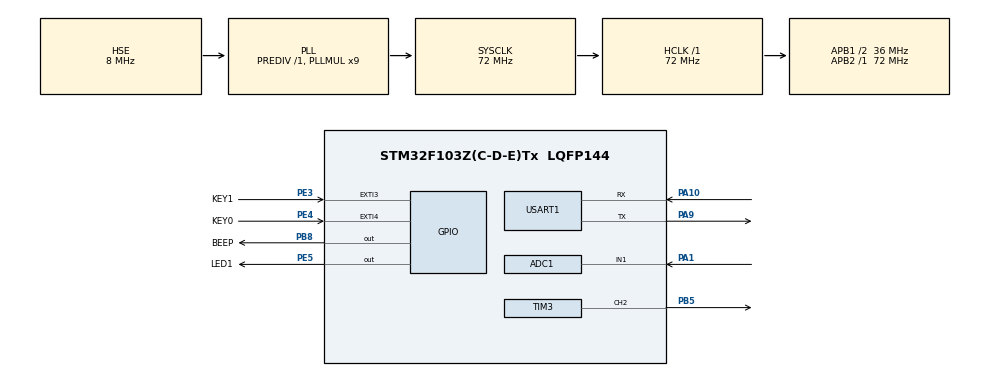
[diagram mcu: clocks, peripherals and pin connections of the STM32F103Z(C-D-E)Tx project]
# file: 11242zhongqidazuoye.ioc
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ADC1.Channel-0\#ChannelRegularConversion=ADC_CHANNEL_1
ADC1.Channel-1\#ChannelRegularConversion=ADC_CHANNEL_TEMPSENSOR
ADC1.ContinuousConvMode=ENABLE
ADC1.NbrOfConversion=2
ADC1.NbrOfConversionFlag=1
ADC1.Rank-0\#ChannelRegularConversion=1
ADC1.Rank-1\#ChannelRegularConversion=2
ADC1.SamplingTime-0\#ChannelRegularConversion=ADC_SAMPLETIME_239CYCLES_5
ADC1.SamplingTime-1\#ChannelRegularConversion=ADC_SAMPLETIME_239CYCLES_5
ADC1.master=1
Dma.ADC1.0.Direction=DMA_PERIPH_TO_MEMORY
Dma.ADC1.0.Instance=DMA1_Channel1
Dma.ADC1.0.MemDataAlignment=DMA_MDATAALIGN_HALFWORD
Dma.ADC1.0.MemInc=DMA_MINC_ENABLE
Dma.ADC1.0.Mode=DMA_CIRCULAR
Dma.ADC1.0.PeriphDataAlignment=DMA_PDATAALIGN_HALFWORD
Dma.ADC1.0.PeriphInc=DMA_PINC_DISABLE
Dma.ADC1.0.Priority=DMA_PRIORITY_LOW
Dma.Request0=ADC1
Dma.Request1=USART1_TX
Dma.Request2=USART1_RX
Dma.USART1_RX.2.Direction=DMA_PERIPH_TO_MEMORY
Dma.USART1_RX.2.Instance=DMA1_Channel5
Dma.USART1_RX.2.MemDataAlignment=DMA_MDATAALIGN_WORD
Dma.USART1_RX.2.MemInc=DMA_MINC_ENABLE
Dma.USART1_RX.2.Mode=DMA_NORMAL
Dma.USART1_RX.2.PeriphDataAlignment=DMA_PDATAALIGN_WORD
Dma.USART1_RX.2.PeriphInc=DMA_PINC_DISABLE
Dma.USART1_RX.2.Priority=DMA_PRIORITY_HIGH
Dma.USART1_TX.1.Direction=DMA_MEMORY_TO_PERIPH
Dma.USART1_TX.1.Instance=DMA1_Channel4
Dma.USART1_TX.1.MemDataAlignment=DMA_MDATAALIGN_WORD
Dma.USART1_TX.1.MemInc=DMA_MINC_ENABLE
Dma.USART1_TX.1.Mode=DMA_NORMAL
Dma.USART1_TX.1.PeriphDataAlignment=DMA_PDATAALIGN_WORD
Dma.USART1_TX.1.PeriphInc=DMA_PINC_DISABLE
Dma.USART1_TX.1.Priority=DMA_PRIORITY_LOW
IWDG.Prescaler=IWDG_PRESCALER_64
IWDG.Reload=209
Mcu.Family=STM32F1
Mcu.Name=STM32F103Z(C-D-E)Tx
Mcu.Package=LQFP144
NVIC.ADC1_2_IRQn=true\:0\:0\:false\:false\:true\:true\:true\:true
NVIC.DMA1_Channel1_IRQn=true\:0\:0\:false\:false\:true\:false\:true\:true
NVIC.DMA1_Channel4_IRQn=true\:0\:0\:false\:false\:true\:false\:true\:true
NVIC.DMA1_Channel5_IRQn=true\:0\:0\:false\:false\:true\:false\:true\:true
NVIC.EXTI3_IRQn=true\:1\:0\:true\:false\:true\:true\:true\:true
NVIC.EXTI4_IRQn=true\:0\:0\:true\:false\:true\:true\:true\:true
NVIC.PriorityGroup=NVIC_PRIORITYGROUP_4
NVIC.TIM6_IRQn=true\:3\:0\:true\:false\:true\:true\:true\:true
NVIC.USART1_IRQn=true\:2\:0\:true\:false\:true\:true\:true\:true
OSC_IN.Mode=HSE-External-Oscillator
OSC_IN.Signal=RCC_OSC_IN
OSC_OUT.Mode=HSE-External-Oscillator
OSC_OUT.Signal=RCC_OSC_OUT
PA1.Signal=ADCx_IN1
PA10.Mode=Asynchronous
PA10.Signal=USART1_RX
PA9.Mode=Asynchronous
PA9.Signal=USART1_TX
PB5.Signal=S_TIM3_CH2
PB8.GPIO_Label=BEEP
PB8.Signal=GPIO_Output
PE3.GPIO_Label=KEY1
PE3.Signal=GPXTI3
PE4.GPIO_Label=KEY0
PE4.Signal=GPXTI4
PE5.GPIO_Label=LED1
PE5.Signal=GPIO_Output
ProjectManager.HeapSize=0x200
ProjectManager.StackSize=0x400
ProjectManager.TargetToolchain=STM32CubeIDE
RCC.ADCPresc=RCC_ADCPCLK2_DIV6
RCC.AHBFreq_Value=72000000
RCC.APB1CLKDivider=RCC_HCLK_DIV2
RCC.APB1Freq_Value=36000000
RCC.APB1TimFreq_Value=72000000
RCC.APB2Freq_Value=72000000
RCC.APB2TimFreq_Value=72000000
RCC.HCLKFreq_Value=72000000
RCC.PLLMUL=RCC_PLL_MUL9
RCC.PLLSourceVirtual=RCC_PLLSOURCE_HSE
RCC.SYSCLKFreq_VALUE=72000000
RCC.SYSCLKSource=RCC_SYSCLKSOURCE_PLLCLK
RCC.USBFreq_Value=72000000
SH.ADCx_IN1.0=ADC1_IN1,IN1
SH.S_TIM3_CH2.0=TIM3_CH2,PWM Generation2 CH2
TIM3.Channel-PWM\ Generation2\ CH2=TIM_CHANNEL_2
TIM3.Period=999
TIM3.Prescaler=71
TIM3.Pulse-PWM\ Generation2\ CH2=499
TIM6.Period=9999
TIM6.Prescaler=7199
USART1.VirtualMode=VM_ASYNC
VP_ADC1_TempSens_Input.Mode=IN-TempSens
VP_IWDG_VS_IWDG.Mode=IWDG_Activate
VP_SYS_VS_ND.Mode=No_Debug
VP_TIM3_VS_ClockSourceINT.Mode=Internal
VP_TIM6_VS_ClockSourceINT.Mode=Enable_Timer
board=custom

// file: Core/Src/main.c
/* USER CODE BEGIN Header */
/**
  ******************************************************************************
  * @file           : main.c
  * @brief          : Main program body
  ******************************************************************************
  * @attention
  *
  * Copyright (c) 2025 STMicroelectronics.
  * All rights reserved.
  *
  * This software is licensed under terms that can be found in the LICENSE file
  * in the root directory of this software component.
  * If no LICENSE file comes with this software, it is provided AS-IS.
  *
  ******************************************************************************
  */
/* USER CODE END Header */
#include "main.h"
#include "adc.h"
#include "dma.h"
#include "iwdg.h"
#include "tim.h"
#include "usart.h"
#include "gpio.h"

/* USER CODE BEGIN Includes */
#include<stdio.h>
#include<string.h>
/* USER CODE END Includes */

/* USER CODE BEGIN PD */
#define MAX_RECEIVE_SIZE 200

/* USER CODE END PD */

/* USER CODE BEGIN PV */
volatile uint8_t pwm_flag = 0;
volatile uint16_t pwm_vol = 0;
volatile uint32_t pwm_time;
volatile uint16_t adc_buf[2] = {0};
volatile uint32_t adc_get_time = 0;
volatile uint8_t Report_Flag;
volatile uint8_t adc_print_ready = 0;
volatile uint32_t adc_vol_sum = 0;
volatile uint32_t adc_tem_sum = 0;
volatile uint16_t adc_sum_ready = 0;
volatile uint16_t adc_temp_vol = 0;
volatile uint16_t adc_temp_tem = 0;
volatile uint8_t rx_buffer[MAX_RECEIVE_SIZE];
volatile uint32_t warning_limit = 2800;
volatile uint8_t rx_flag = 0;
volatile uint32_t rx_dma_time = 0;
volatile uint32_t light_warning_time = 0;
volatile float adc_tem;
volatile float adc_vol;
volatile uint8_t emergency_flag = 0;
int temp_val = 0;
volatile uint8_t temp_flag = 0;
volatile uint8_t key0_pressed = 0;
volatile uint8_t key1_pressed = 0;
volatile uint8_t processing_buffer[MAX_RECEIVE_SIZE];
/* USER CODE END PV */

void SystemClock_Config(void);

/* USER CODE BEGIN 0 */
int _write(int file , char* ptr , int len)
{
	HAL_UART_Transmit(&huart1 , (uint8_t *)ptr , len , HAL_MAX_DELAY);
	return len;
}

/* USER CODE END 0 */

int main(void)
{

  /* MCU Configuration--------------------------------------------------------*/

  /* Reset of all peripherals, Initializes the Flash interface and the Systick. */
  HAL_Init();

  /* Configure the system clock */
  SystemClock_Config();

  /* Initialize all configured peripherals */
  MX_GPIO_Init();
  MX_DMA_Init();
  MX_ADC1_Init();
  MX_IWDG_Init();
  MX_TIM3_Init();
  MX_TIM6_Init();
  MX_USART1_UART_Init();
  /* USER CODE BEGIN 2 */
  HAL_ADCEx_Calibration_Start(&hadc1);
  HAL_ADC_Start_DMA(&hadc1 , (uint32_t *)adc_buf , 2);   /* 0 电位器 1 温度 */
  HAL_UARTEx_ReceiveToIdle_DMA(&huart1 , (uint8_t *)rx_buffer , MAX_RECEIVE_SIZE);
  HAL_TIM_PWM_Start(&htim3 , TIM_CHANNEL_2);
  HAL_TIM_Base_Start_IT(&htim6);

  /* USER CODE END 2 */

  /* Infinite loop */
  /* USER CODE BEGIN WHILE */
  while (1)
  {
	  if(key0_pressed == 1)
	  {
		  emergency_flag = 1;
		  printf("[EMERGENCY] STOPPED!!\r\n");
		  HAL_TIM_PWM_Stop(&htim3 , TIM_CHANNEL_2);
		  key0_pressed = 0;
	  }

	  if(key1_pressed == 1)
	  {
		  printf("System booting......\r\n");
		  HAL_Delay(100);
		  HAL_NVIC_SystemReset();
		  key1_pressed = 0;
	  }

	  if(emergency_flag == 1)
	  {
		  HAL_GPIO_WritePin(GPIOE, LED1_Pin, GPIO_PIN_RESET);
		  HAL_GPIO_WritePin(GPIOB, BEEP_Pin, GPIO_PIN_SET);

		  HAL_IWDG_Refresh(&hiwdg);
		  temp_flag = 1;
		  continue;
	  }

	  else if(emergency_flag == 0 && temp_flag == 1)
	  {
		  HAL_GPIO_WritePin(GPIOE, LED1_Pin, GPIO_PIN_SET);
		  HAL_GPIO_WritePin(GPIOB, BEEP_Pin, GPIO_PIN_RESET);
		  temp_flag = 0;
	  }

	  if(HAL_GetTick() - pwm_time >= 1)
	  {
		  if(pwm_vol >= 999)
		  {
			  pwm_flag = 0;
		  }
		  else if(pwm_vol <= 0)
		  {
			  pwm_flag = 1;
		  }

		  if(pwm_flag == 1)
		  {
			  pwm_vol ++;
		  }
		  else if(pwm_flag == 0)
		  {
			  pwm_vol --;
		  }
		  pwm_time = HAL_GetTick();

		  __HAL_TIM_SET_COMPARE(&htim3 , TIM_CHANNEL_2 , pwm_vol);
	  }

	  if(HAL_GetTick() - adc_get_time >= 10)
	  {
		  if(adc_sum_ready == 10)
		  {
			  adc_temp_vol = adc_vol_sum / 10;
			  adc_temp_tem = adc_tem_sum / 10;
			  adc_vol_sum = 0;
			  adc_tem_sum = 0;
			  adc_sum_ready = 0;
			  adc_print_ready = 1;
		  }

		adc_vol_sum +=  adc_buf[0];
		adc_tem_sum += adc_buf[1];
		adc_sum_ready += 1;

		adc_get_time = HAL_GetTick();
	  }

	  if(Report_Flag == 1)
	  {
		  if(adc_print_ready == 1)
		  {

			  adc_vol = (float)adc_temp_vol * 3.3f / 4096.0f;

			  adc_tem = (1.43f - (float)adc_temp_tem * 3.3f / 4096.0f) / 0.0043f + 25.0f;

			  printf("V : %.2f , T : %.2f\r\n" , adc_vol , adc_tem);
			  adc_print_ready = 0;
		  }
		  Report_Flag = 0;
	  }

	  if(rx_flag == 1)
	  {
		  printf("Debug: %s\r\n", processing_buffer);
		if (sscanf((char *)processing_buffer, "set:%d", &temp_val) == 1)
		{

			  if(temp_val > 0 && temp_val < 4095)
			  {

			      warning_limit = (uint32_t)temp_val;

			      printf("Limit updated to: %lu\r\n", (unsigned long)warning_limit);
			  }
	    }
		memset((void *)rx_buffer, 0, MAX_RECEIVE_SIZE);
		rx_flag = 0;

	  }

	  if(HAL_GetTick() - light_warning_time >= 100) /*5Hz*/
	  {
		  if((int)(adc_vol * 1000) > (int)warning_limit)
		  {
			  HAL_GPIO_TogglePin(GPIOE , GPIO_PIN_5);
		  }
		  light_warning_time = HAL_GetTick();
	  }

	  if(adc_tem > 32.0)
	  {
		  HAL_GPIO_WritePin(GPIOB , GPIO_PIN_8 , GPIO_PIN_SET);
	  }

	  else if(adc_tem > 0.0 && adc_tem <= 32.0)
	  {
		  HAL_GPIO_WritePin(GPIOB , GPIO_PIN_8 , GPIO_PIN_RESET);
	  }

	  HAL_IWDG_Refresh(&hiwdg);

    /* USER CODE END WHILE */

  }
}

void SystemClock_Config(void)
{
  RCC_OscInitTypeDef RCC_OscInitStruct = {0};
  RCC_ClkInitTypeDef RCC_ClkInitStruct = {0};
  RCC_PeriphCLKInitTypeDef PeriphClkInit = {0};

  /** Initializes the RCC Oscillators according to the specified parameters
  * in the RCC_OscInitTypeDef structure.
  */
  RCC_OscInitStruct.OscillatorType = RCC_OSCILLATORTYPE_LSI|RCC_OSCILLATORTYPE_HSE;
  RCC_OscInitStruct.HSEState = RCC_HSE_ON;
  RCC_OscInitStruct.HSEPredivValue = RCC_HSE_PREDIV_DIV1;
  RCC_OscInitStruct.HSIState = RCC_HSI_ON;
  RCC_OscInitStruct.LSIState = RCC_LSI_ON;
  RCC_OscInitStruct.PLL.PLLState = RCC_PLL_ON;
  RCC_OscInitStruct.PLL.PLLSource = RCC_PLLSOURCE_HSE;
  RCC_OscInitStruct.PLL.PLLMUL = RCC_PLL_MUL9;
  if (HAL_RCC_OscConfig(&RCC_OscInitStruct) != HAL_OK)
  {
    Error_Handler();
  }

  /** Initializes the CPU, AHB and APB buses clocks
  */
  RCC_ClkInitStruct.ClockType = RCC_CLOCKTYPE_HCLK|RCC_CLOCKTYPE_SYSCLK
                              |RCC_CLOCKTYPE_PCLK1|RCC_CLOCKTYPE_PCLK2;
  RCC_ClkInitStruct.SYSCLKSource = RCC_SYSCLKSOURCE_PLLCLK;
  RCC_ClkInitStruct.AHBCLKDivider = RCC_SYSCLK_DIV1;
  RCC_ClkInitStruct.APB1CLKDivider = RCC_HCLK_DIV2;
  RCC_ClkInitStruct.APB2CLKDivider = RCC_HCLK_DIV1;

  if (HAL_RCC_ClockConfig(&RCC_ClkInitStruct, FLASH_LATENCY_2) != HAL_OK)
  {
    Error_Handler();
  }
  PeriphClkInit.PeriphClockSelection = RCC_PERIPHCLK_ADC;
  PeriphClkInit.AdcClockSelection = RCC_ADCPCLK2_DIV6;
  if (HAL_RCCEx_PeriphCLKConfig(&PeriphClkInit) != HAL_OK)
  {
    Error_Handler();
  }
}

/* USER CODE BEGIN 4 */
void HAL_TIM_PeriodElapsedCallback(TIM_HandleTypeDef *htim)
{
	if(htim -> Instance == TIM6)
	{
		Report_Flag = 1;
	}
}

void HAL_UARTEx_RxEventCallback(UART_HandleTypeDef *huart , uint16_t Size)
{
	if(huart -> Instance == USART1)
	{
		if(Size < MAX_RECEIVE_SIZE)
		{
			memcpy((void *)processing_buffer , (void *)rx_buffer , Size);
			processing_buffer[Size] = '\0';

		}
		rx_flag = 1;
	}

	HAL_UARTEx_ReceiveToIdle_DMA(&huart1 , (uint8_t *)rx_buffer , MAX_RECEIVE_SIZE);
}

void HAL_GPIO_EXTI_Callback(uint16_t GPIO_Pin)
{
	if(GPIO_Pin == KEY0_Pin)
	{
		key0_pressed = 1;
	}

	else if(GPIO_Pin == KEY1_Pin)
	{
		key1_pressed = 1;
	}
}

/* USER CODE END 4 */

void Error_Handler(void)
{
  __disable_irq();
  while (1)
  {
  }
}
